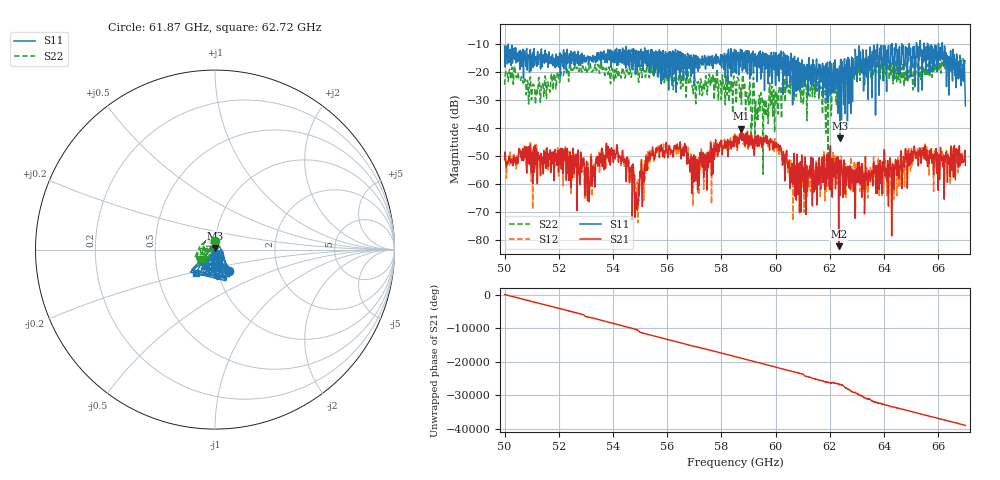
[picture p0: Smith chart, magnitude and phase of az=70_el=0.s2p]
!Created with skrf (http://scikit-rf.org).
# GHz S RI R 50.0
!freq ReS11 ImS11 ReS21 ImS21 ReS12 ImS12 ReS22 ImS22
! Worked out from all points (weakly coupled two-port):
!   1001 points, 50 GHz to 67 GHz, reference 50 ohm
!   highest |S21| = -40.14 dB at 58.74 GHz (marker M1); lowest = -82.2 dB at 62.33 GHz (marker M2)
!   lowest |S11| = -43.6 dB at 62.38 GHz (marker M3), VSWR 1.01, Z = 50.2 + j0.642 ohm
!   |S11| at or under -10 dB: 50.14 GHz to 63.75 GHz (13.62 GHz wide, 23.9 % of centre); 63.75 GHz to 64.3 GHz (542.1 MHz wide, 0.847 % of centre); 66.15 GHz to end of sweep (the widest 3 of 13)
!   |S22| runs from -56.5 to -13.8 dB; largest |S21 - S12| = 0.0021
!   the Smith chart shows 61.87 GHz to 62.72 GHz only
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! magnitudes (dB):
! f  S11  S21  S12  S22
! 50 GHz  -10.6  -51.1  -51.8  -24.5
! 51.07 GHz  -12.8  -46.7  -47.2  -24.3
! 52.84 GHz  -14.8  -55.8  -55.8  -19.9
! 53.08 GHz  -14.5  -54.0  -52.4  -18.5
! 54.18 GHz  -13.0  -48.4  -49.0  -21.2
! 54.9 GHz  -12.4  -69.4  -59.2  -18.0
! 55.3 GHz  -12.1  -51.9  -54.7  -19.2
! 55.68 GHz  -14.2  -47.2  -47.0  -22.0
! 56.63 GHz  -16.7  -49.3  -49.4  -20.8
! 57.04 GHz  -15.6  -50.1  -50.3  -28.8
! 58.5 GHz  -19.9  -42.7  -42.1  -24.1
! 58.74 GHz  -15.5  -40.1  -41.5  -31.5
! 59.61 GHz  -13.6  -44.7  -44.2  -35.7
! 60.34 GHz  -13.6  -58.9  -53.0  -25.4
! 61.34 GHz  -23.3  -56.9  -55.8  -26.2
! 61.88 GHz  -29.9  -58.2  -51.8  -23.1
! 62.33 GHz  -20.7  -82.2  -60.1  -25.6
! 62.38 GHz  -43.6  -64.1  -58.6  -18.6
! 64.18 GHz  -16.8  -52.8  -53.1  -18.7
! 66.08 GHz  -15.7  -46.9  -48.1  -15.7
! 66.88 GHz  -22.8  -49.6  -48.9  -14.8
! 67 GHz  -32.0  -53.3  -48.4  -15.7
